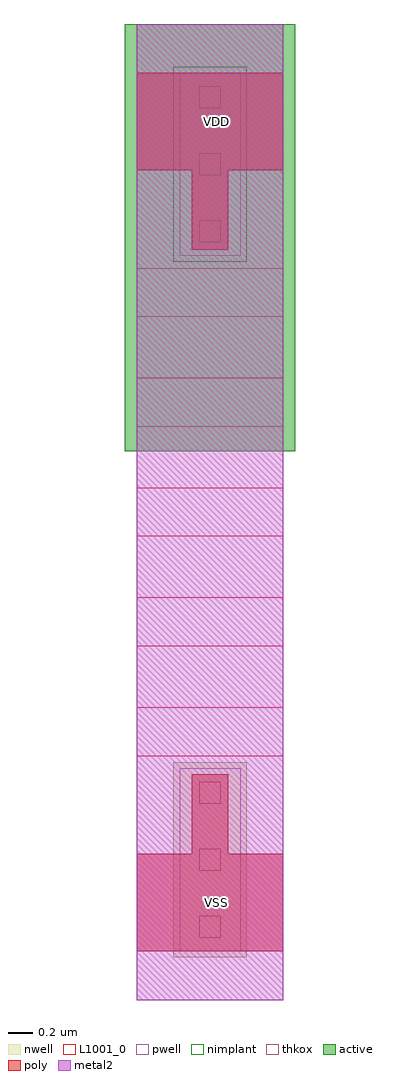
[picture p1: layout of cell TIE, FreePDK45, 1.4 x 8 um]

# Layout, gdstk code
import gdstk
lib = gdstk.Library(unit=1e-6, precision=1e-09)
def R(c, l, rs):  # rectangles x0, y0, x1, y1
    for r in rs: c.add(gdstk.rectangle(r[:2], r[2:], *l))
def A(c, l, x, y, w, h, nx, ny, dx, dy):  # array of equal rectangles
    R(c, l, [(x+i*dx, y+j*dy, x+i*dx+w, y+j*dy+h) for i in range(nx) for j in range(ny)])
active = (1, 0)
pwell = (2, 0)
nwell = (3, 0)
nimplant = (4, 0)
thkox = (8, 0)
poly = (9, 0)
metal2 = (13, 0)
L1001_0 = (1001, 0)

tie = lib.new_cell('TIE')
R(tie, active, [(-0.1,4.5,1.3,8)])
R(tie, pwell, [(0.35,0.4,0.85,1.9), (0.35,6.1,0.85,7.6)])
R(tie, nwell, [(0.3,0.35,0.9,1.95)])
R(tie, nimplant, [(0.3,6.05,0.9,7.65)])
A(tie, thkox, 0.51, 0.51, 0.18, 0.18, 1, 3, 0, 0.55)
A(tie, thkox, 0.51, 6.21, 0.18, 0.18, 1, 3, 0, 0.55)
R(tie, poly, [(0,0.4,1.2,1.2), (0.45,0.45,0.75,1.85), (0.45,6.15,0.75,7.55), (0,6.8,1.2,7.6)])
R(tie, metal2, [(0,0,1.2,8)])
tie.add(gdstk.FlexPath([(0,2.2),(1.2,2.2)], 0.4, ends="flush", simple_path=True, layer=1001, datatype=0))  # L1001_0
tie.add(gdstk.FlexPath([(0,3.1),(1.2,3.1)], 0.4, ends="flush", simple_path=True, layer=1001, datatype=0))  # L1001_0
tie.add(gdstk.FlexPath([(0,4),(1.2,4)], 0.4, ends="flush", simple_path=True, layer=1001, datatype=0))  # L1001_0
tie.add(gdstk.FlexPath([(0,4.9),(1.2,4.9)], 0.4, ends="flush", simple_path=True, layer=1001, datatype=0))  # L1001_0
tie.add(gdstk.FlexPath([(0,5.8),(1.2,5.8)], 0.4, ends="flush", simple_path=True, layer=1001, datatype=0))  # L1001_0
tie.add(gdstk.Label('VDD', (0.65,7.2), layer=9, texttype=0))
tie.add(gdstk.Label('VSS', (0.65,0.8), layer=9, texttype=0))

lib.write_gds('TIE.gds')
